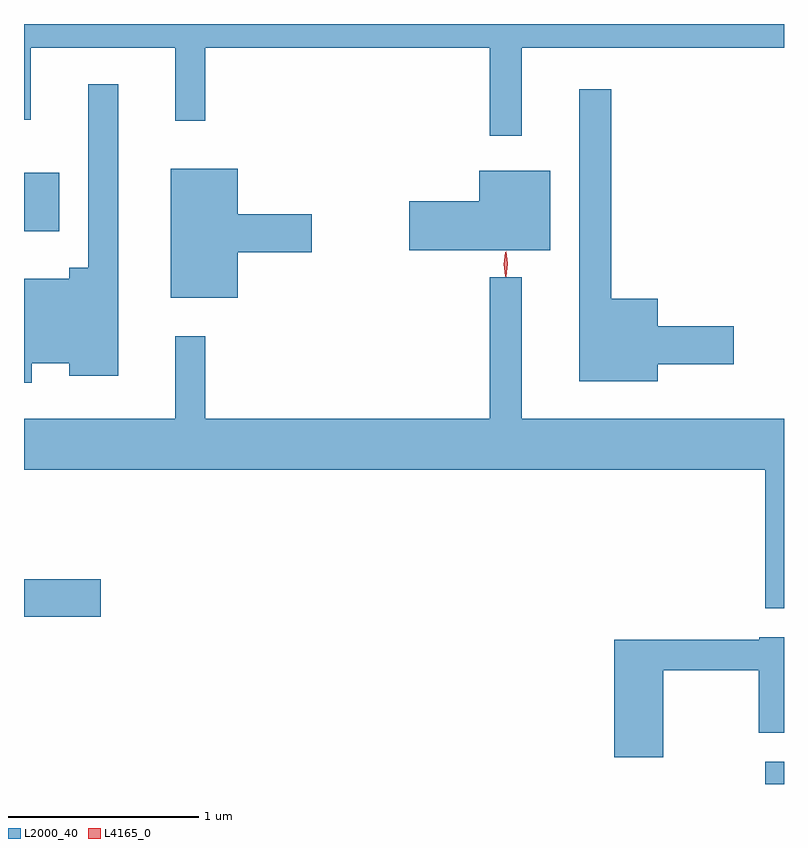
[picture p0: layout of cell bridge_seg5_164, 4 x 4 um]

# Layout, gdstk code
import gdstk
lib = gdstk.Library(unit=1e-6, precision=1e-09)
def R(c, l, rs):  # rectangles x0, y0, x1, y1
    for r in rs: c.add(gdstk.rectangle(r[:2], r[2:], *l))
def P(c, l, *ps):  # polygons
    for p in ps: c.add(gdstk.Polygon(p, *l))
L2000_40 = (2000, 40)
L4165_0 = (4165, 0)

bridge_seg5_164 = lib.new_cell('bridge_seg5_164')
R(bridge_seg5_164, L2000_40, [(1206.551,1397.421,1206.649,1397.539), (1202.649,1398.301,1203.054,1398.499), (1202.649,1400.331,1202.834,1400.639)])
P(bridge_seg5_164, L2000_40, [(1205.269,1401.296),(1206.649,1401.296),(1206.649,1401.421),(1202.649,1401.421),(1202.649,1400.918),(1202.684,1400.918),(1202.684,1401.296),(1203.446,1401.296),(1203.446,1400.913),(1203.604,1400.913),(1203.604,1401.296),(1205.101,1401.296),(1205.101,1400.833),(1205.269,1400.833)],
  [(1202.689,1399.636),(1202.886,1399.636),(1202.886,1399.571),(1203.144,1399.571),(1203.144,1401.103),(1202.986,1401.103),(1202.986,1400.139),(1202.886,1400.139),(1202.886,1400.079),(1202.649,1400.079),(1202.649,1399.533),(1202.689,1399.533)],
  [(1205.984,1399.631),(1206.384,1399.631),(1206.384,1399.829),(1205.984,1399.829),(1205.984,1399.974),(1205.739,1399.974),(1205.739,1401.078),(1205.571,1401.078),(1205.571,1399.541),(1205.984,1399.541)],
  [(1203.774,1400.221),(1204.164,1400.221),(1204.164,1400.419),(1203.774,1400.419),(1203.774,1400.659),(1203.421,1400.659),(1203.421,1399.981),(1203.774,1399.981)],
  [(1205.419,1400.649),(1205.046,1400.649),(1205.046,1400.489),(1204.676,1400.489),(1204.676,1400.231),(1205.419,1400.231)],
  [(1206.649,1399.344),(1205.269,1399.344),(1205.269,1400.088),(1205.101,1400.088),(1205.101,1399.344),(1203.604,1399.344),(1203.604,1399.778),(1203.446,1399.778),(1203.446,1399.344),(1202.649,1399.344),(1202.649,1399.076),(1206.551,1399.076),(1206.551,1398.346),(1206.649,1398.346)],
  [(1206.014,1398.021),(1206.516,1398.021),(1206.516,1397.691),(1206.649,1397.691),(1206.649,1398.194),(1206.52,1398.194),(1206.52,1398.179),(1205.756,1398.179),(1205.756,1397.561),(1206.014,1397.561)])
P(bridge_seg5_164, L4165_0, [(1205.184,1400.09),(1205.176,1400.158),(1205.186,1400.226),(1205.186,1400.226),(1205.187,1400.226),(1205.196,1400.158),(1205.186,1400.09),(1205.185,1400.09)],
  [(1205.182,1400.093),(1205.173,1400.156),(1205.182,1400.219),(1205.183,1400.22),(1205.184,1400.219),(1205.193,1400.156),(1205.184,1400.093),(1205.183,1400.093)])

lib.write_gds('bridge_seg5_164.gds')
